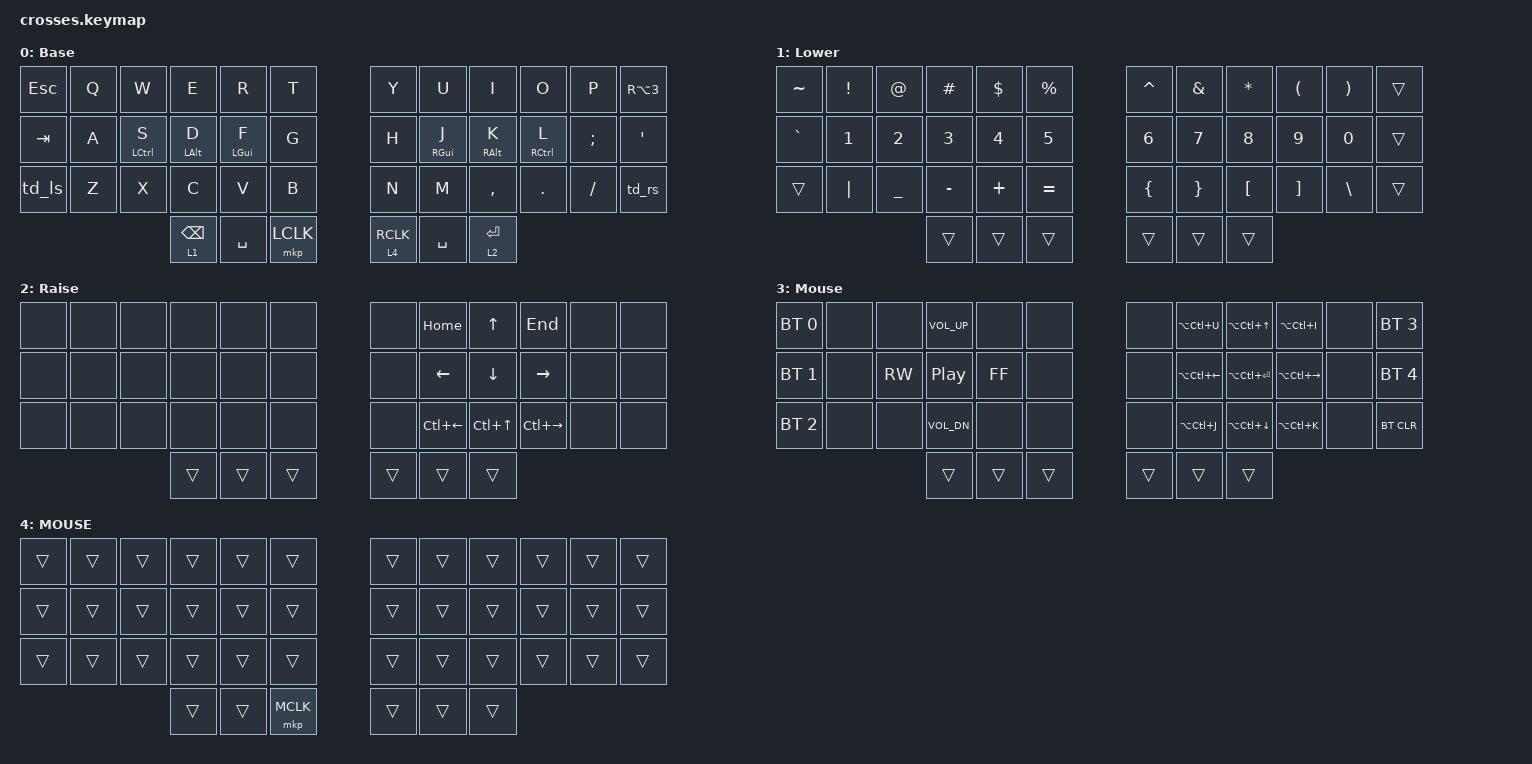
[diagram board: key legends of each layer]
#include <behaviors.dtsi>
#include <dt-bindings/zmk/bt.h>
#include <dt-bindings/zmk/keys.h>
#include <dt-bindings/zmk/pointing.h>

/ {
    chosen { zmk,physical-layout = &gggw_crosses_42_layout; };

    behaviors {
        td_ls: td_ls {
            compatible = "zmk,behavior-tap-dance";
            label = "TD_LS";
            #binding-cells = <0>;
            bindings = <&sk_qr LEFT_SHIFT>, <&caps_word>, <&kp CAPSLOCK>;

            tapping-term-ms = <500>;
        };

        td_rs: td_rs {
            compatible = "zmk,behavior-tap-dance";
            label = "TD_RS";
            #binding-cells = <0>;
            bindings = <&sk_qr RIGHT_SHIFT>, <&caps_word>, <&kp CAPSLOCK>;

            tapping-term-ms = <500>;
        };

        ht_hrm: ht_hrm {
            compatible = "zmk,behavior-hold-tap";
            label = "HT_HRM";
            bindings = <&kp>, <&kp>;

            #binding-cells = <2>;
            flavor = "balanced";
            tapping-term-ms = <300>;
            require-prior-idle-ms = <150>;
            retro-tap;
        };

        ht_mo: ht_mo {
            compatible = "zmk,behavior-hold-tap";
            label = "HT_MO";
            bindings = <&mo>, <&kp>;

            #binding-cells = <2>;
            flavor = "balanced";
            tapping-term-ms = <300>;
            require-prior-idle-ms = <150>;
            retro-tap;
        };

        sk_qr: sk_qr {
            compatible = "zmk,behavior-sticky-key";
            label = "SK_QR";
            bindings = <&kp>;
            #binding-cells = <1>;
            release-after-ms = <5000>;
            quick-release;
            ignore-modifiers;
            lazy;
        };

        ht_mkp: ht_mkp {
            compatible = "zmk,behavior-hold-tap";
            label = "HT_MKP";
            bindings = <&mo>, <&mkp>;

            #binding-cells = <2>;
            flavor = "balanced";
            retro-tap;
            tapping-term-ms = <300>;
            require-prior-idle-ms = <150>;
        };
    };

    keymap {
        compatible = "zmk,keymap";

        default {
            display-name = "Base";
            bindings = <
&kp ESC  &kp Q  &kp W                   &kp E               &kp R               &kp T      &kp Y           &kp U                &kp I                &kp O                    &kp P     &kp RA(NUMBER_3)
&kp TAB  &kp A  &ht_hrm LEFT_CONTROL S  &ht_hrm LEFT_ALT D  &ht_hrm LEFT_GUI F  &kp G      &kp H           &ht_hrm RIGHT_GUI J  &ht_hrm RIGHT_ALT K  &ht_hrm RIGHT_CONTROL L  &kp SEMI  &kp SQT
&td_ls   &kp Z  &kp X                   &kp C               &kp V               &kp B      &kp N           &kp M                &kp COMMA            &kp DOT                  &kp FSLH  &td_rs
                                        &ht_mo 1 BACKSPACE  &kp SPACE           &mkp LCLK  &ht_mkp 4 RCLK  &kp SPACE            &ht_mo 2 RET
            >;

            label = "LUKE";
        };

        sym_layer {
            display-name = "Lower";
            bindings = <
&kp TILDE  &kp EXCLAMATION  &kp AT     &kp HASH   &kp DOLLAR  &kp PERCENT  &kp CARET       &kp AMPERSAND    &kp ASTERISK      &kp LEFT_PARENTHESIS  &kp RIGHT_PARENTHESIS  &trans
&kp GRAVE  &kp N1           &kp N2     &kp N3     &kp N4      &kp N5       &kp N6          &kp N7           &kp N8            &kp N9                &kp N0                 &trans
&trans     &kp PIPE         &kp UNDER  &kp MINUS  &kp PLUS    &kp EQUAL    &kp LEFT_BRACE  &kp RIGHT_BRACE  &kp LEFT_BRACKET  &kp RIGHT_BRACKET     &kp BACKSLASH          &trans
                                       &trans     &trans      &trans       &trans          &trans           &trans
            >;

            label = "SYM";
        };

        nav_layer {
            display-name = "Raise";
            bindings = <
&none  &none  &none  &none   &none   &none   &none   &kp HOME      &kp UP            &kp END        &none  &none
&none  &none  &none  &none   &none   &none   &none   &kp LEFT      &kp DOWN          &kp RIGHT      &none  &none
&none  &none  &none  &none   &none   &none   &none   &kp LC(LEFT)  &kp LC(UP_ARROW)  &kp LC(RIGHT)  &none  &none
                     &trans  &trans  &trans  &trans  &trans        &trans
            >;

            label = "NAV";
        };

        snap_layer {
            display-name = "Mouse";
            bindings = <
&bt BT_SEL 0  &none  &none     &kp C_VOL_UP  &none     &none   &none   &kp LA(LC(U))     &kp LA(LC(UP))    &kp LA(LC(I))      &none  &bt BT_SEL 3
&bt BT_SEL 1  &none  &kp C_RW  &kp C_PP      &kp C_FF  &none   &none   &kp LA(LC(LEFT))  &kp LA(LC(RET))   &kp LA(LC(RIGHT))  &none  &bt BT_SEL 4
&bt BT_SEL 2  &none  &none     &kp C_VOL_DN  &none     &none   &none   &kp LA(LC(J))     &kp LA(LC(DOWN))  &kp LA(LC(K))      &none  &bt BT_CLR
                               &trans        &trans    &trans  &trans  &trans            &trans
            >;

            label = "SNAP";
        };

        mouse_layer {
            bindings = <
&trans  &trans  &trans  &trans  &trans  &trans     &trans  &trans  &trans  &trans  &trans  &trans
&trans  &trans  &trans  &trans  &trans  &trans     &trans  &trans  &trans  &trans  &trans  &trans
&trans  &trans  &trans  &trans  &trans  &trans     &trans  &trans  &trans  &trans  &trans  &trans
                        &trans  &trans  &mkp MCLK  &trans  &trans  &trans
            >;

            label = "MOUSE";
        };
    };

    conditional_layers {
        compatible = "zmk,conditional-layers";

        snap_layer {
            if-layers = <1 2>;
            then-layer = <3>;
        };
    };
};
